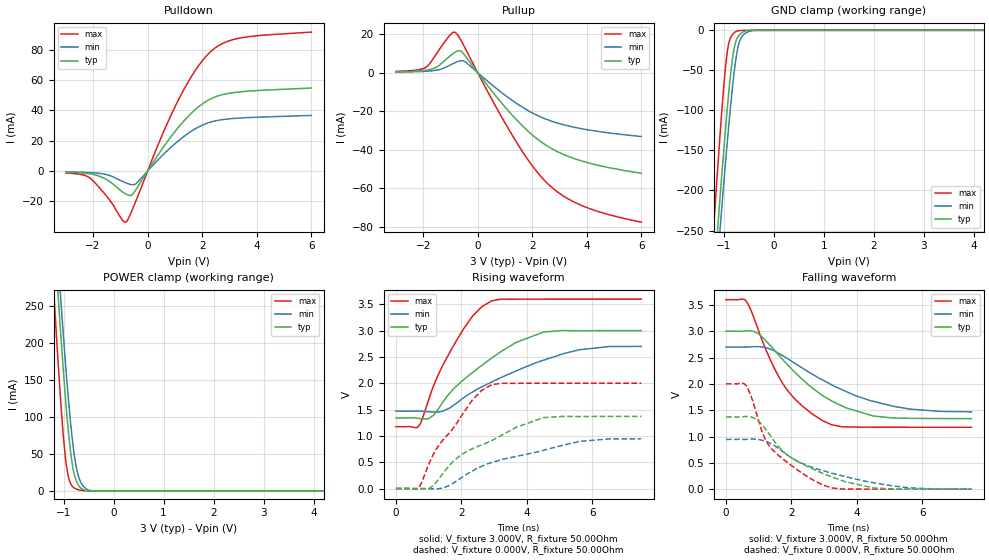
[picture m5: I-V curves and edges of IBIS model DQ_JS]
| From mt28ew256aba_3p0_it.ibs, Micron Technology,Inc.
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|   Model DQ_JS
[Model]   DQ_JS
Model_type   I/O
Vinl = 0.800V
Vinh = 2.100V
Vmeas = 1.500V
Cref = 30.000pF
|   typ   min   max
C_comp   4.086pF   3.586pF   4.586pF
[Voltage Range]   3.000V   2.700V   3.600V
| Junction Temperature (Ambient temp is 35C typ, 85C min, -40C max)
[Temperature Range]   50.0   100.0   -40.0
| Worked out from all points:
|   slope of the pulldown table from 0 to 0.45 V, typ, clamps not added: 36.1 ohm
|   slope of the pullup table from 0 to 0.45 V, typ, clamps not added: 54.2 ohm
|   GND clamp passes 1 mA (typ) near -0.58 V on its own axis
|   POWER clamp passes 1 mA (typ) near -0.57 V on its own axis
|   falling waveform, V_fixture 3.000V, R_fixture 50.00Ohm: 20-80 % time 1.8ns typ, 2.3ns min, 1.26ns max; typ from 3 V to 1.34 V
|   rising waveform, V_fixture 3.000V, R_fixture 50.00Ohm: 20-80 % time 1.92ns typ, 2.54ns min, 1.17ns max; typ from 1.34 V to 3 V
|   rising waveform, V_fixture 0.000V, R_fixture 50.00Ohm: 20-80 % time 2.06ns typ, 2.73ns min, 1.28ns max; typ from 0 V to 1.37 V
|   falling waveform, V_fixture 0.000V, R_fixture 50.00Ohm: 20-80 % time 1.79ns typ, 2.33ns min, 1.25ns max; typ from 1.37 V to 0 V
[Pulldown]
|   Voltage   I(typ)   I(min)   I(max)
-3V       -791.3uA   -502.2uA   -1.183mA
-2.091V   -1.885mA   -979.2uA   -4.866mA
-1.506V   -5.582mA   -2.267mA   -16.42mA
-786mV    -15.18mA   -7.83mA    -33.45mA
-588mV    -15.8mA    -8.932mA   -26.61mA
-435mV    -12.36mA   -8.36mA    -19.9mA
1.05V     27.07mA    18.75mA    44.01mA
1.716V    40.01mA    27.51mA    65.43mA
2.229V    46.78mA    31.84mA    77.22mA
2.724V    50.28mA    33.87mA    83.83mA
3.363V    52.15mA    34.94mA    87.53mA
6V        54.69mA    36.66mA    91.55mA
[GND Clamp]
|   Voltage   I(typ)   I(min)   I(max)
-3V       -1.937A    -1.901A    -2.028A
-1.2V     -312.6mA   -348.3mA   -244.2mA
-1.128V   -252.3mA   -290.6mA   -177.8mA
-1.101V   -230.1mA   -269.2mA   -153.8mA
-1.065V   -200.7mA   -241.1mA   -122.4mA
-939mV    -104.2mA   -146.3mA   -30.99mA
-894mV    -73.59mA   -114.8mA   -14.86mA
-831mV    -37.81mA   -74.06mA   -5.774mA
-750mV    -12.37mA   -32.72mA   -1.377mA
-651mV    -3.575mA   -8.992mA   -167.5uA
-417mV    -8.877uA   -270.5uA   -209.7nA
6V        0A         0A         0A
[Pullup]
|   Voltage   I(typ)   I(min)   I(max)
-3V       504.3uA    331.9uA    682.1uA
-1.902V   1.288mA    735.4uA    2.806mA
-1.497V   3.017mA    1.334mA    10.18mA
-1.074V   7.992mA    3.532mA    18.53mA
-822mV    10.69mA    5.26mA     20.88mA
-543mV    10.22mA    6.21mA     14.93mA
1.284V    -22.31mA   -14.57mA   -32.87mA
1.95V     -31.65mA   -20.46mA   -47.29mA
2.517V    -37.72mA   -24.16mA   -56.85mA
3.129V    -42.31mA   -26.93mA   -63.85mA
3.867V    -46.01mA   -29.2mA    -69.21mA
6V        -52.15mA   -33.1mA    -77.52mA
[POWER Clamp]
|   Voltage   I(typ)   I(min)   I(max)
-3V       2.486A     2.449A     2.578A
-1.191V   351mA      395.5mA    264.9mA
-1.101V   257.3mA    304.2mA    166.2mA
-1.065V   221mA      269.1mA    129.6mA
-1.011V   169.4mA    217.9mA    80.19mA
-957mV    122.1mA    169.5mA    41.96mA
-903mV    80.27mA    124.6mA    19.05mA
-849mV    47.44mA    85.62mA    8.692mA
-750mV    14.5mA     33.99mA    2.738mA
-633mV    2.826mA    8.888mA    591.2uA
-417mV    43.76uA    220.8uA    5.186uA
6V        0A         0A         0A
[Ramp]
R_load = 50.00Ohm
|   typ   min   max
dV/dt_r   822.277mV/2.057ns   566.820mV/2.729ns   1.200V/1.282ns
dV/dt_f   995.926mV/1.801ns   738.556mV/2.303ns   1.454V/1.258ns
[Falling Waveform]
V_fixture = 3.000V
V_fixture_min = 2.700V
V_fixture_max = 3.600V
R_fixture = 50.00Ohm
|   Time   V(typ)   V(min)   V(max)
0s        3V         2.7V       3.6V
610ps     3.007V     2.698V     3.576V
1ns       2.945V     2.706V     3.001V
1.7ns     2.484V     2.548V     2.038V
2.08ns    2.236V     2.4V       1.727V
2.93ns    1.788V     2.081V     1.308V
3.56ns    1.577V     1.886V     1.184V
4.51ns    1.389V     1.667V     1.177V
5.61ns    1.346V     1.523V     1.176V
7.5ns     1.34V      1.469V     1.176V
[Rising Waveform]
V_fixture = 3.000V
V_fixture_min = 2.700V
V_fixture_max = 3.600V
R_fixture = 50.00Ohm
|   Time   V(typ)   V(min)   V(max)
0s        1.34V      1.469V     1.176V
670ps     1.335V     1.472V     1.167V
1.14ns    1.388V     1.452V     1.935V
1.85ns    1.946V     1.621V     2.81V
2.34ns    2.203V     1.832V     3.274V
2.92ns    2.475V     2.022V     3.564V
3.66ns    2.771V     2.23V      3.597V
4.51ns    2.973V     2.438V     3.599V
5.62ns    2.997V     2.638V     3.599V
7.5ns     3V         2.7V       3.6V
[Rising Waveform]
V_fixture = 0.000V
V_fixture_min = 0.000V
V_fixture_max = 0.000V
R_fixture = 50.00Ohm
|   Time   V(typ)   V(min)   V(max)
0s        2.692uV    5.959uV    97.89uV
670ps     -696.2uV   501.6uV    207.5uV
1.01ns    271.1uV    -3.029mV   469.7mV
1.34ns    205.8mV    -944.8uV   847.6mV
1.99ns    639mV      200.6mV    1.367V
2.61ns    826.5mV    419mV      1.858V
2.93ns    913.1mV    494mV      1.973V
4.51ns    1.347V     726.4mV    2V
5.62ns    1.368V     894.8mV    2.001V
7.5ns     1.37V      944.7mV    2.001V
[Falling Waveform]
V_fixture = 0.000V
V_fixture_min = 0.000V
V_fixture_max = 0.000V
R_fixture = 50.00Ohm
|   Time   V(typ)   V(min)   V(max)
0s        1.37V      944.7mV    2.001V
610ps     1.381V     945.3mV    1.97V
910ps     1.335V     947.7mV    1.483V
1.1ns     1.223V     929.5mV    1.091V
1.34ns    1.029V     875.4mV    805.1mV
1.99ns    597.1mV    599.3mV    452.3mV
2.93ns    306.9mV    356.7mV    87.06mV
4.51ns    22.91mV    121.7mV    425.6uV
5.61ns    1.657mV    25.22mV    -64.97uV
7.5ns     2.692uV    5.959uV    97.89uV
